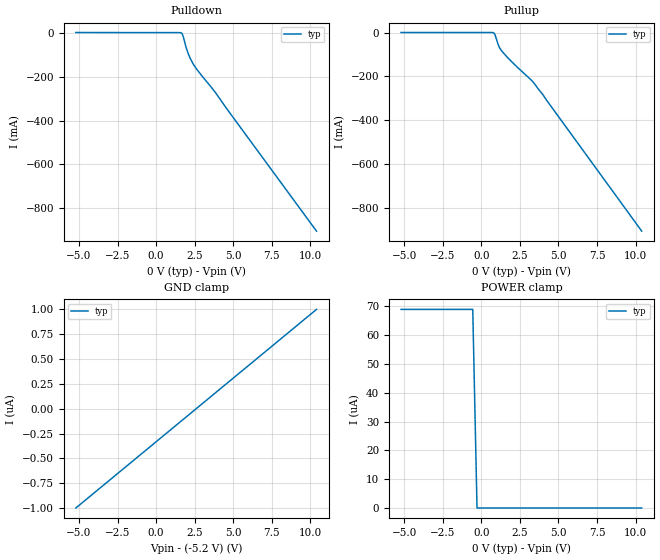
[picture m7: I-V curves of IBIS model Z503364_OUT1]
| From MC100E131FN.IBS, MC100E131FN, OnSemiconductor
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| (C) COPYRIGHT 1993-2000
| MENTOR GRAPHICS CORPORATION
| ICX STANDARD LIBRARY, ICX PROJECT MODELING,
| ICX CUSTOM MODELING, ICX VENDOR MODEL
| ALL RIGHTS RESERVED.
| THE FOLLOWING ARE TRADEMARKS OR SERVICE MARKS OF
| MENTOR GRAPHICS CORPORATION:ICX (R), ICX STANDARD
| LIBRARY(R), ICX PROJECT MODELING(R), ICX CUSTOM
| MODELING(R), qualityIBIS(TM), MODELVIEWER(TM),
| AND MODELEDITOR(TM)
| ALL COPIES OF SOFTWARE, INCLUDING BUT NOT LIMITED TO
| ANY MODIFICATIONS, ENHANCEMENTS OR DERIVATIVE WORKS,
| MUST CONTAIN ALL MENTOR GRAPHICS CORPORATION'S
| NOTICES AND LEGENDS, INCLUDING THOSE EMBEDDED IN
| SOFTWARE AND THOSE AFFIXED TO SOFTWARE MEDIUM
| AND CONTAINER, AS RECEIVED FROM MENTOR GRAPHICS
| CORPORATION.
| Model Application Version 1.89 2/18/99.
[Model] Z503364_OUT1
Model_type Output_ECL
Vref=-2.000V
Rref=50.00ohms
Cref=0.000F
Vmeas=-1.320V
C_comp 8.000pF NA NA
| variable typ   min   max
[Voltage Range] -5.200V NA NA
[POWER Clamp Reference] 0.000V NA NA
[Pullup Reference] 0.000V NA NA
[Pulldown Reference] 0.000V NA NA
[GND Clamp Reference] -5.200V NA NA
[GND Clamp]
-5.2V     -1uA       NA         NA
10.4V     1uA        NA         NA
[Pulldown]
-5.2V     511uA      NA         NA
1.66V     -2.603mA   NA         NA
1.764V    -18.74mA   NA         NA
1.948V    -67.69mA   NA         NA
2.076V    -94.4mA    NA         NA
2.403V    -142.8mA   NA         NA
2.618V    -165.3mA   NA         NA
3.896V    -277.4mA   NA         NA
4.538V    -342.2mA   NA         NA
10.4V     -903.2mA   NA         NA
[Pullup]
-5.2V     35.8uA     NA         NA
823.7mV   -2.445mA   NA         NA
893.4mV   -10.8mA    NA         NA
1.104V    -56.89mA   NA         NA
1.314V    -83.15mA   NA         NA
1.993V    -135mA     NA         NA
3.389V    -228.3mA   NA         NA
4.008V    -285.1mA   NA         NA
10.4V     -906.8mA   NA         NA
[POWER Clamp]
-5.2V     68.9uA     NA         NA
-551.8mV  68.9uA     NA         NA
-275.9mV  0A         NA         NA
10.4V     0A         NA         NA
[Ramp]
| variable typ min max
dV/dt_r 454.4m/629.0p NA NA
dV/dt_f 454.4m/491.0p NA NA
R_load = 50.00Ohms
